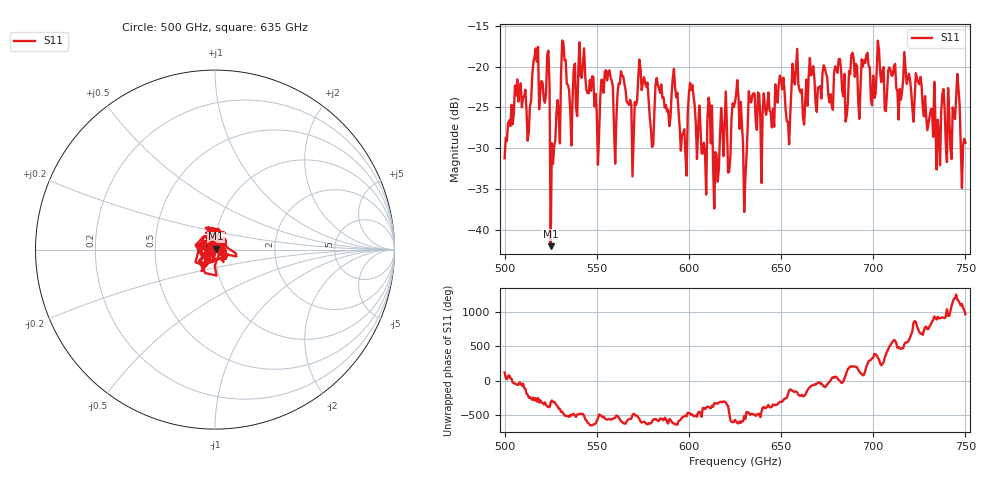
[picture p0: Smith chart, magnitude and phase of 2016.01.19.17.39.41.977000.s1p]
!Created with skrf (http://scikit-rf.org).
# GHz S RI R 50.0
!freq ReS11 ImS11
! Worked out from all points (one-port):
!   401 points, 500 GHz to 750 GHz, reference 50 ohm
!   lowest |S11| = -42.0 dB at 525 GHz (marker M1), VSWR 1.02, Z = 50.6 + j0.57 ohm
!   |S11| at or under -10 dB: start of sweep to end of sweep
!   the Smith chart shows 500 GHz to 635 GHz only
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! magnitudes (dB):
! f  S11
! 500 GHz  -31.2
! 506.9 GHz  -21.6
! 513.1 GHz  -28.0
! 516.9 GHz  -17.8
! 523.1 GHz  -18.5
! 525 GHz  -42.0
! 526.2 GHz  -31.9
! 531.2 GHz  -16.8
! 535.6 GHz  -25.4
! 541.9 GHz  -21.4
! 550 GHz  -25.6
! 562.5 GHz  -22.1
! 568.8 GHz  -24.6
! 573.8 GHz  -20.3
! 580 GHz  -29.8
! 593.8 GHz  -23.2
! 597.5 GHz  -27.7
! 601.9 GHz  -22.3
! 608.1 GHz  -29.3
! 611.2 GHz  -24.6
! 615 GHz  -30.9
! 625 GHz  -24.4
! 630.6 GHz  -33.6
! 633.8 GHz  -24.4
! 656.2 GHz  -19.6
! 687.5 GHz  -20.9
! 718.8 GHz  -21.5
! 750 GHz  -29.3
